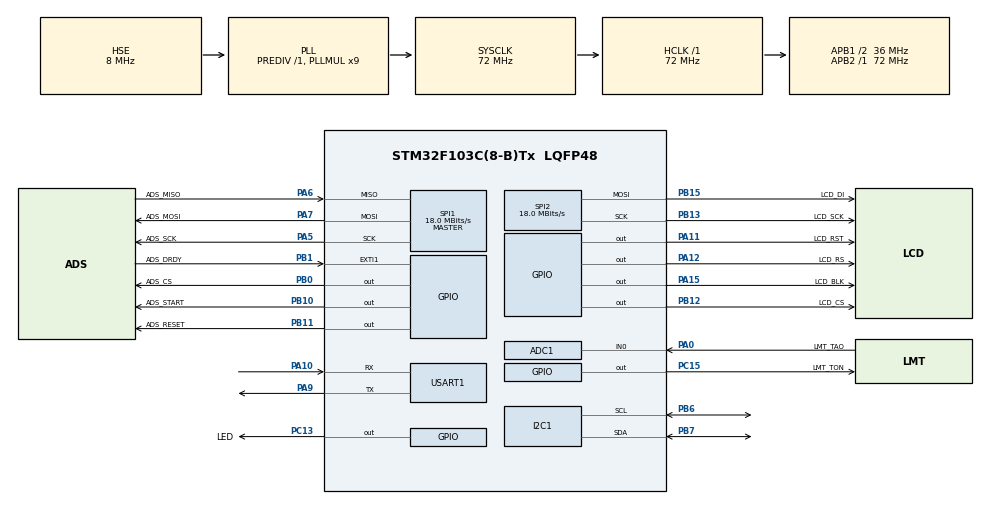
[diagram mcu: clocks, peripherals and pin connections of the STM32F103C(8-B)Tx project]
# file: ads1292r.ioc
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ADC1.Channel-1\#ChannelRegularConversion=ADC_CHANNEL_0
ADC1.ContinuousConvMode=ENABLE
ADC1.NbrOfConversionFlag=1
ADC1.Rank-1\#ChannelRegularConversion=1
ADC1.SamplingTime-1\#ChannelRegularConversion=ADC_SAMPLETIME_1CYCLE_5
ADC1.master=1
I2C1.I2C_Mode=I2C_Fast
Mcu.Family=STM32F1
Mcu.Name=STM32F103C(8-B)Tx
Mcu.Package=LQFP48
NVIC.EXTI1_IRQn=true\:0\:0\:false\:false\:true\:true\:true
NVIC.PriorityGroup=NVIC_PRIORITYGROUP_4
NVIC.TIM1_UP_IRQn=true\:0\:0\:false\:false\:true\:true\:true
PA0-WKUP.GPIO_Label=LMT_TAO
PA0-WKUP.Signal=ADCx_IN0
PA10.Mode=Asynchronous
PA10.Signal=USART1_RX
PA11.GPIO_Label=LCD_RST
PA11.Signal=GPIO_Output
PA12.GPIO_Label=LCD_RS
PA12.Signal=GPIO_Output
PA13.Mode=Serial_Wire
PA13.Signal=SYS_JTMS-SWDIO
PA14.Mode=Serial_Wire
PA14.Signal=SYS_JTCK-SWCLK
PA15.GPIO_Label=LCD_BLK
PA15.PinState=GPIO_PIN_SET
PA15.Signal=GPIO_Output
PA5.GPIO_Label=ADS_SCK
PA5.Mode=Full_Duplex_Master
PA5.Signal=SPI1_SCK
PA6.GPIO_Label=ADS_MISO
PA6.Mode=Full_Duplex_Master
PA6.Signal=SPI1_MISO
PA7.GPIO_Label=ADS_MOSI
PA7.Mode=Full_Duplex_Master
PA7.Signal=SPI1_MOSI
PA9.Mode=Asynchronous
PA9.Signal=USART1_TX
PB0.GPIO_Label=ADS_CS
PB0.Signal=GPIO_Output
PB1.GPIO_Label=ADS_DRDY
PB1.GPIO_ModeDefaultEXTI=GPIO_MODE_IT_FALLING
PB1.Signal=GPXTI1
PB10.GPIO_Label=ADS_START
PB10.Signal=GPIO_Output
PB11.GPIO_Label=ADS_RESET
PB11.Signal=GPIO_Output
PB12.GPIO_Label=LCD_CS
PB12.Signal=GPIO_Output
PB13.GPIO_Label=LCD_SCK
PB13.Mode=TX_Only_Simplex_Unidirect_Master
PB13.Signal=SPI2_SCK
PB15.GPIO_Label=LCD_DI
PB15.Mode=TX_Only_Simplex_Unidirect_Master
PB15.Signal=SPI2_MOSI
PB6.Mode=I2C
PB6.Signal=I2C1_SCL
PB7.Mode=I2C
PB7.Signal=I2C1_SDA
PC13-TAMPER-RTC.GPIO_Label=LED
PC13-TAMPER-RTC.PinState=GPIO_PIN_SET
PC13-TAMPER-RTC.Signal=GPIO_Output
PC15-OSC32_OUT.GPIO_Label=LMT_TON
PC15-OSC32_OUT.PinState=GPIO_PIN_RESET
PC15-OSC32_OUT.Signal=GPIO_Output
PD0-OSC_IN.Mode=HSE-External-Oscillator
PD0-OSC_IN.Signal=RCC_OSC_IN
PD1-OSC_OUT.Mode=HSE-External-Oscillator
PD1-OSC_OUT.Signal=RCC_OSC_OUT
ProjectManager.HeapSize=0x200
ProjectManager.StackSize=0x400
ProjectManager.TargetToolchain=SW4STM32
RCC.ADCPresc=RCC_ADCPCLK2_DIV6
RCC.AHBFreq_Value=72000000
RCC.APB1CLKDivider=RCC_HCLK_DIV2
RCC.APB1Freq_Value=36000000
RCC.APB1TimFreq_Value=72000000
RCC.APB2Freq_Value=72000000
RCC.APB2TimFreq_Value=72000000
RCC.HCLKFreq_Value=72000000
RCC.PLLMUL=RCC_PLL_MUL9
RCC.PLLSourceVirtual=RCC_PLLSOURCE_HSE
RCC.SYSCLKFreq_VALUE=72000000
RCC.SYSCLKSource=RCC_SYSCLKSOURCE_PLLCLK
RCC.USBFreq_Value=72000000
SH.ADCx_IN0.0=ADC1_IN0,IN0
SPI1.BaudRatePrescaler=SPI_BAUDRATEPRESCALER_4
SPI1.CLKPhase=SPI_PHASE_2EDGE
SPI1.CalculateBaudRate=18.0 MBits/s
SPI1.Direction=SPI_DIRECTION_2LINES
SPI1.Mode=SPI_MODE_MASTER
SPI1.VirtualType=VM_MASTER
SPI2.BaudRatePrescaler=SPI_BAUDRATEPRESCALER_2
SPI2.CLKPhase=SPI_PHASE_1EDGE
SPI2.CalculateBaudRate=18.0 MBits/s
SPI2.Direction=SPI_DIRECTION_2LINES
SPI2.Mode=SPI_MODE_MASTER
SPI2.VirtualType=VM_MASTER
TIM1.Period=8000-1
TIM1.Prescaler=36000-1
USART1.VirtualMode=VM_ASYNC
VP_TIM1_VS_ClockSourceINT.Mode=Internal
board=custom

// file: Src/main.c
/* USER CODE BEGIN Header */
/**
  ******************************************************************************
  * @file           : main.c
  * @brief          : Main program body
  ******************************************************************************
  * @attention
  *
  * <h2><center>&copy; Copyright (c) 2020 STMicroelectronics.
  * All rights reserved.</center></h2>
  *
  * This software component is licensed by ST under BSD 3-Clause license,
  * the "License"; You may not use this file except in compliance with the
  * License. You may obtain a copy of the License at:
  *                        opensource.org/licenses/BSD-3-Clause
  *
  ******************************************************************************
  */
/* USER CODE END Header */

#include "main.h"
#include "adc.h"
#include "i2c.h"
#include "spi.h"
#include "tim.h"
#include "usart.h"
#include "gpio.h"

/* USER CODE BEGIN Includes */
#include "mainApp.h"
#include "delay.h"
#include "inv_mpu.h"
/* USER CODE END Includes */

void SystemClock_Config(void);

/* USER CODE BEGIN 0 */
int32_t get_volt(uint32_t num);
/* USER CODE END 0 */

int main(void)
{
  /* USER CODE BEGIN 1 */
  HAL_NVIC_DisableIRQ(EXTI1_IRQn);

  /* USER CODE END 1 */

  /* MCU Configuration--------------------------------------------------------*/

  /* Reset of all peripherals, Initializes the Flash interface and the Systick. */
  HAL_Init();

  /* Configure the system clock */
  SystemClock_Config();

  /* USER CODE BEGIN SysInit */
  SystemInit();
  delay_init(72);
  /* USER CODE END SysInit */

  /* Initialize all configured peripherals */
  MX_GPIO_Init();
  MX_USART1_UART_Init();
  MX_SPI1_Init();
  MX_SPI2_Init();
  MX_ADC1_Init();
  MX_TIM1_Init();
  MX_I2C1_Init();
  /* USER CODE BEGIN 2 */
  Lcd_Init();
  LMT_Init();
  ADS1292_Init(0);
  mpu_dmp_init();

  //绿灯短亮表示成功
  HAL_GPIO_WritePin(GPIOC,LED_Pin,RESET);
  delay_ms(300);
  HAL_GPIO_WritePin(GPIOC,LED_Pin,SET);
  //打开ads1292中断
  HAL_NVIC_EnableIRQ(EXTI1_IRQn);
  /* USER CODE END 2 */

  /* Infinite loop */
  /* USER CODE BEGIN WHILE */
  while (1)
  {
    mainApp();
  }
    /* USER CODE END WHILE */

}

void SystemClock_Config(void)
{
  RCC_OscInitTypeDef RCC_OscInitStruct = {0};
  RCC_ClkInitTypeDef RCC_ClkInitStruct = {0};
  RCC_PeriphCLKInitTypeDef PeriphClkInit = {0};

  /** Initializes the CPU, AHB and APB busses clocks
  */
  RCC_OscInitStruct.OscillatorType = RCC_OSCILLATORTYPE_HSE;
  RCC_OscInitStruct.HSEState = RCC_HSE_ON;
  RCC_OscInitStruct.HSEPredivValue = RCC_HSE_PREDIV_DIV1;
  RCC_OscInitStruct.HSIState = RCC_HSI_ON;
  RCC_OscInitStruct.PLL.PLLState = RCC_PLL_ON;
  RCC_OscInitStruct.PLL.PLLSource = RCC_PLLSOURCE_HSE;
  RCC_OscInitStruct.PLL.PLLMUL = RCC_PLL_MUL9;
  if (HAL_RCC_OscConfig(&RCC_OscInitStruct) != HAL_OK)
  {
    Error_Handler();
  }
  /** Initializes the CPU, AHB and APB busses clocks
  */
  RCC_ClkInitStruct.ClockType = RCC_CLOCKTYPE_HCLK|RCC_CLOCKTYPE_SYSCLK
                              |RCC_CLOCKTYPE_PCLK1|RCC_CLOCKTYPE_PCLK2;
  RCC_ClkInitStruct.SYSCLKSource = RCC_SYSCLKSOURCE_PLLCLK;
  RCC_ClkInitStruct.AHBCLKDivider = RCC_SYSCLK_DIV1;
  RCC_ClkInitStruct.APB1CLKDivider = RCC_HCLK_DIV2;
  RCC_ClkInitStruct.APB2CLKDivider = RCC_HCLK_DIV1;

  if (HAL_RCC_ClockConfig(&RCC_ClkInitStruct, FLASH_LATENCY_2) != HAL_OK)
  {
    Error_Handler();
  }
  PeriphClkInit.PeriphClockSelection = RCC_PERIPHCLK_ADC;
  PeriphClkInit.AdcClockSelection = RCC_ADCPCLK2_DIV6;
  if (HAL_RCCEx_PeriphCLKConfig(&PeriphClkInit) != HAL_OK)
  {
    Error_Handler();
  }
}

void Error_Handler(void)
{
}

/************************ (C) COPYRIGHT STMicroelectronics *****END OF FILE****/
